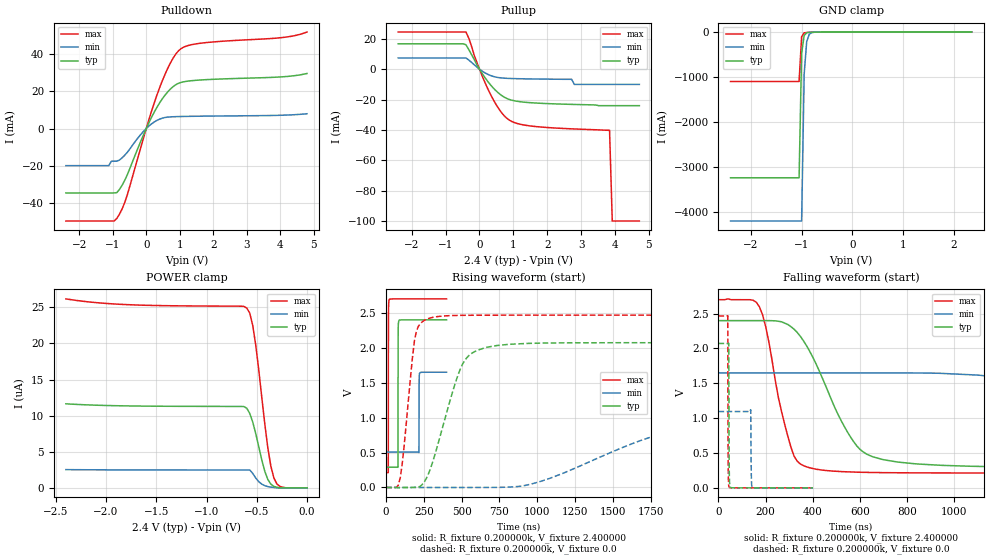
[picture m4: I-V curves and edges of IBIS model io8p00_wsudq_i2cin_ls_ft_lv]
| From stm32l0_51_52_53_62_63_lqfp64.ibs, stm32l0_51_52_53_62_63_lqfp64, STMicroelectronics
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|   Model io8p00_wsudq_i2cin_ls_ft_lv
[Model]  io8p00_wsudq_i2cin_ls_ft_lv
Model_type I/O
Polarity   Non-Inverting
Enable   Active-Low
Vinl =   0.720000V
Vinh =   1.680000V
Vmeas =  1.200000V
Cref =   50.000000pF
Rref =   100.000000M
Vref =   0.0V
C_comp   2.943600pF   2.919700pF   2.965100pF
[Temperature Range]   25.000000   0.105000k   -40.000000
[Pullup Reference]   2.400000V   1.650000V   2.700000V
[Pulldown Reference]   0.0V   0.0V   0.0V
[POWER Clamp Reference]   2.400000V   1.650000V   2.700000V
[GND Clamp Reference]   0.0V   0.0V   0.0V
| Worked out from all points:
|   slope of the pulldown table from 0 to 0.36 V, typ, clamps not added: 28.5 ohm
|   slope of the pullup table from 0 to 0.36 V, typ, clamps not added: 32.2 ohm
|   GND clamp passes 1 mA (typ) near -0.65 V on its own axis
|   rising waveform, R_fixture 0.200000k, V_fixture 2.400000: 20-80 % time 682ps typ, 843ps min, 768ps max; typ from 0.291 V to 2.4 V
|   rising waveform, R_fixture 0.200000k, V_fixture 0.0: 20-80 % time 169ns typ, 819ns min, 66.3ns max; typ from 0 V to 2.07 V
|   falling waveform, R_fixture 0.200000k, V_fixture 2.400000: 20-80 % time 180ns typ, 726ns min, 89.5ns max; typ from 2.4 V to 0.291 V
|   falling waveform, R_fixture 0.200000k, V_fixture 0.0: 20-80 % time 1.22ns typ, 1.77ns min, 1.04ns max; typ from 2.07 V to 0 V
[Pulldown]
|Voltage   I(typ)   I(min)   I(max)
-2.4V     -34.71mA   -20mA      -49.82mA
-1.12V    -34.71mA   -20mA      -49.82mA
-1.04V    -34.71mA   -17.6mA    -49.82mA
-880mV    -34.55mA   -17.6mA    -48.46mA
-560mV    -24.65mA   -12.68mA   -35.33mA
0V        326fA      0A         140fA
400mV     13.84mA    5.066mA    22.03mA
720mV     21.24mA    6.254mA    35.26mA
1.04V     24.82mA    6.464mA    43.03mA
1.6V      26.11mA    6.627mA    45.88mA
4V        27.76mA    7.125mA    48.87mA
4.8V      29.64mA    7.94mA     51.96mA
[Pullup]
|Voltage   I(typ)   I(min)   I(max)
-2.4V     16.77mA    7.419mA    24.51mA
-400mV    16.1mA     7.419mA    24.51mA
0V        80fA       6.14pA     10fA
320mV     -10.16mA   -4.078mA   -16.34mA
640mV     -17.08mA   -5.718mA   -28.28mA
960mV     -20.45mA   -6.128mA   -34.49mA
1.76V     -22.39mA   -6.47mA    -37.97mA
2.72V     -23.16mA   -6.64mA    -39.27mA
2.8V      -23.2mA    -10mA      -39.35mA
3.84V     -24mA      -10mA      -40.2mA
3.92V     -24mA      -10mA      -100mA
4.72V     -24mA      -10mA      -100mA
[GND_clamp]
|Voltage   I(typ)   I(min)   I(max)
-2.4V     -3.237A    -4.198A    -1.1A
-1.05V    -3.237A    -4.198A    -1.1A
-1V       -475.8mA   -4.198A    -104.2mA
-950mV    -76.24mA   -935.4mA   -18.39mA
-900mV    -16.61mA   -212.9mA   -9.105mA
-850mV    -6.547mA   -50.94mA   -6.589mA
-800mV    -3.998mA   -13.81mA   -4.86mA
-650mV    -1.043mA   -1.182mA   -1.146mA
2.35V     0A         0A         0A
[POWER_clamp]
|Voltage   I(typ)   I(min)   I(max)
-2.4V     11.64uA    2.525uA    26.17uA
-1.86V    11.37uA    2.488uA    25.42uA
-600mV    11.04uA    2.474uA    24.9uA
-570mV    10.3uA     2.473uA    24.21uA
-540mV    9.097uA    2uA        22.48uA
-510mV    7.497uA    1.35uA     19.73uA
-450mV    3.845uA    512.5nA    12.52uA
-390mV    1.154uA    175.5nA    5.528uA
-360mV    508.2nA    102.8nA    2.997uA
-330mV    204.4nA    60.39nA    1.375uA
-270mV    0A         0A         194.9nA
0V        0A         0A         0A
[Ramp]
| variable   typ   min   max
dV/dt_r  0.65070/0.30150u   0.18995/0.80885u   1.03800/0.14365u
dV/dt_f  0.75690/0.32139u   0.19674/0.84589u   1.13815/0.15977u
R_load = 50.000000
[Rising Waveform]
R_fixture= 0.200000k
V_fixture= 2.400000
V_fixture_min= 1.650000
V_fixture_max= 2.700000
|time   V(typ)   V(min)   V(max)
0s        290.7mV    507.1mV    212.9mV
14.01ns   290.7mV    507.1mV    219.7mV
15.22ns   290.7mV    507.1mV    2.411V
19.62ns   290.7mV    507.1mV    2.689V
77.68ns   289mV      507.1mV    2.7V
79.68ns   2.25V      507.1mV    2.7V
84.08ns   2.386V     507.1mV    2.7V
216.2ns   2.4V       502.4mV    2.7V
222.2ns   2.4V       1.639V     2.7V
400ns     2.4V       1.65V      2.7V
[Rising Waveform]
R_fixture= 0.200000k
V_fixture= 0.0
V_fixture_min= 0.0
V_fixture_max= 0.0
|time   V(typ)   V(min)   V(max)
0s        2.058nV    12.87nV    1.581nV
93.43ns   -110.6uV   12.86nV    141.6mV
200.2ns   2.446mV    12.87nV    2.238V
266.9ns   135.2mV    -23.39uV   2.407V
347ns     654.1mV    -23.4uV    2.449V
533.9ns   1.857V     91.37uV    2.465V
894.2ns   2.058V     19.85mV    2.467V
1.949us   2.072V     848.2mV    2.467V
2.683us   2.072V     1.051V     2.467V
13.33us   2.072V     1.095V     2.467V
[Falling Waveform]
R_fixture= 0.200000k
V_fixture= 2.400000
V_fixture_min= 1.650000
V_fixture_max= 2.700000
|time   V(typ)   V(min)   V(max)
0s        2.4V       1.65V      2.7V
173.5ns   2.4V       1.65V      2.598V
320.3ns   2.277V     1.65V      455.7mV
520.5ns   961mV      1.65V      233.1mV
627.3ns   485.6mV    1.65V      222mV
840.8ns   343.2mV    1.649V     215mV
1.348us   297mV      1.498V     212.9mV
2.162us   291mV      740.7mV    212.9mV
2.803us   290.7mV    566.6mV    212.9mV
13.33us   290.7mV    507.1mV    212.9mV
[Falling Waveform]
R_fixture= 0.200000k
V_fixture= 0.0
V_fixture_min= 0.0
V_fixture_max= 0.0
|time   V(typ)   V(min)   V(max)
0s        2.072V     1.095V     2.467V
39.24ns   2.072V     1.095V     2.471V
41.24ns   2.072V     1.095V     285.7mV
43.64ns   2.071V     1.095V     26.54mV
44.84ns   703.2mV    1.095V     13.18mV
48.85ns   15.21mV    1.095V     2.783mV
136.5ns   23.4uV     1.121V     136.9uV
139.3ns   23.51uV    155.8mV    137.3uV
143.3ns   23.68uV    6.813mV    137.8uV
400ns     2.058nV    12.87nV    1.581nV
